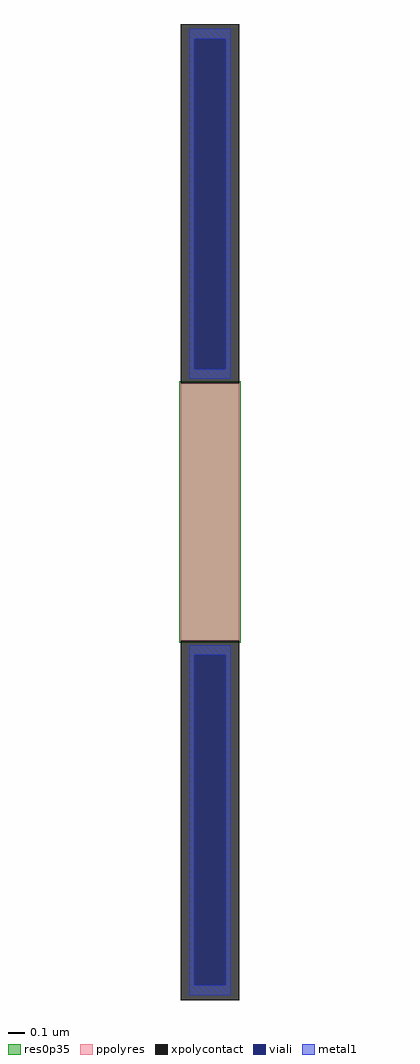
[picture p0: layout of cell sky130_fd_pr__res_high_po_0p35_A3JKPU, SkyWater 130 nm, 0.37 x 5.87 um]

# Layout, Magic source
magic
tech sky130A
magscale 1 2
<< xpolycontact >>
rect -35 155 35 587
rect -35 -587 35 -155
<< ppolyres >>
rect -35 -155 35 155
<< viali >>
rect -19 172 19 569
rect -19 -569 19 -172
<< metal1 >>
rect -25 569 25 581
rect -25 172 -19 569
rect 19 172 25 569
rect -25 160 25 172
rect -25 -172 25 -160
rect -25 -569 -19 -172
rect 19 -569 25 -172
rect -25 -581 25 -569
<< res0p35 >>
rect -37 -157 37 157
<< properties >>
string gencell sky130_fd_pr__res_high_po_0p35
string library sky130
string parameters w 0.350 l 1.55 m 1 nx 1 wmin 0.350 lmin 0.50 rho 319.8 val 2.529k dummy 0 dw 0.0 term 194.82 sterm 0.0 caplen 0 guard 0 glc 0 grc 0 gtc 0 gbc 0 compatible {sky130_fd_pr__res_high_po_0p35  sky130_fd_pr__res_high_po_0p69 sky130_fd_pr__res_high_po_1p41  sky130_fd_pr__res_high_po_2p85 sky130_fd_pr__res_high_po_5p73} full_metal 0 wmax 0.350 vias 1 n_guard 0 hv_guard 0 viagb 0 viagt 0 viagl 0 viagr 0
<< end >>
